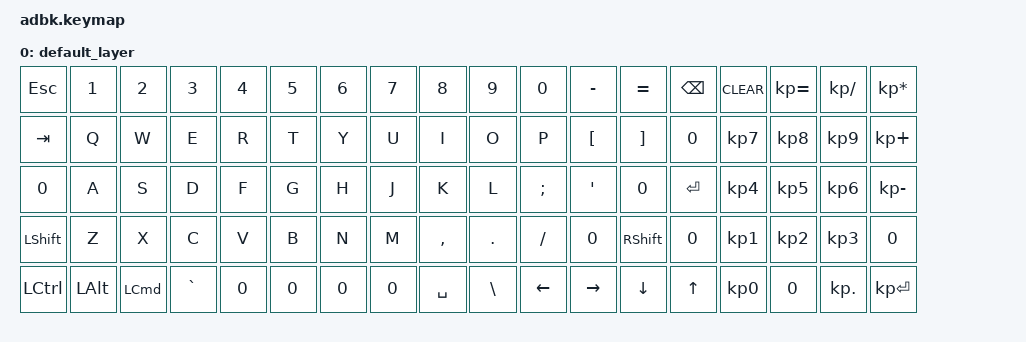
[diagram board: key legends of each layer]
#include <dt-bindings/zmk/keys.h>
#include <behaviors.dtsi>
#include <dt-bindings/zmk/bt.h>

#define DEFAULT     0
#define CAPS        1
#define FUNCTION    2

/ {
    behaviors {
        pwrbtn: pwrbtn {
            compatible = "zmk,behavior-hold-tap";
            #binding-cells = <2>;
            flavor = "hold-preferred";
            tapping-term-ms = <2000>;
            bindings = <&soft_off>, <&nxt_bt_conn>;
        };
    };

    macros {
        nxt_bt_conn: nxt_bt_conn {
            compatible = "zmk,behavior-macro";
            #binding-cells = <0>;
            bindings = <&bt BT_NXT>;
        };
    };

    keymap {
        compatible = "zmk,keymap";
        default_layer {
            bindings = <
                &kp ESC     &kp N1      &kp N2      &kp N3      &kp N4      &kp N5      &kp N6      &kp N7      &kp N8      &kp N9      &kp N0      &kp MINUS   &kp EQUAL   &kp BSPC            &kp CLEAR       &kp KP_EQUAL    &kp KP_SLASH    &kp KP_ASTERISK
                &kp TAB     &kp Q       &kp W       &kp E       &kp R       &kp T       &kp Y       &kp U       &kp I       &kp O       &kp P       &kp LBKT    &kp RBKT    &kp N0              &kp KP_N7       &kp KP_N8       &kp KP_N9       &kp KP_PLUS
                &kp N0      &kp A       &kp S       &kp D       &kp F       &kp G       &kp H       &kp J       &kp K       &kp L       &kp SEMI    &kp APOS    &kp N0      &kp RET             &kp KP_N4       &kp KP_N5       &kp KP_N6       &kp KP_MINUS
                &kp LSHIFT  &kp Z       &kp X       &kp C       &kp V       &kp B       &kp N       &kp M       &kp COMMA   &kp DOT     &kp FSLH    &kp N0      &kp RSHFT   &kp N0              &kp KP_N1       &kp KP_N2       &kp KP_N3       &kp N0
                &kp LCTRL   &kp LALT    &kp LCMD    &kp GRAVE   &kp N0      &kp N0      &kp N0      &kp N0      &kp SPACE   &kp BSLH    &kp LEFT    &kp RIGHT   &kp DOWN    &kp UP                    &kp KP_N0       &kp N0          &kp KP_DOT      &kp KP_ENTER
            >;
        };
    };
};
